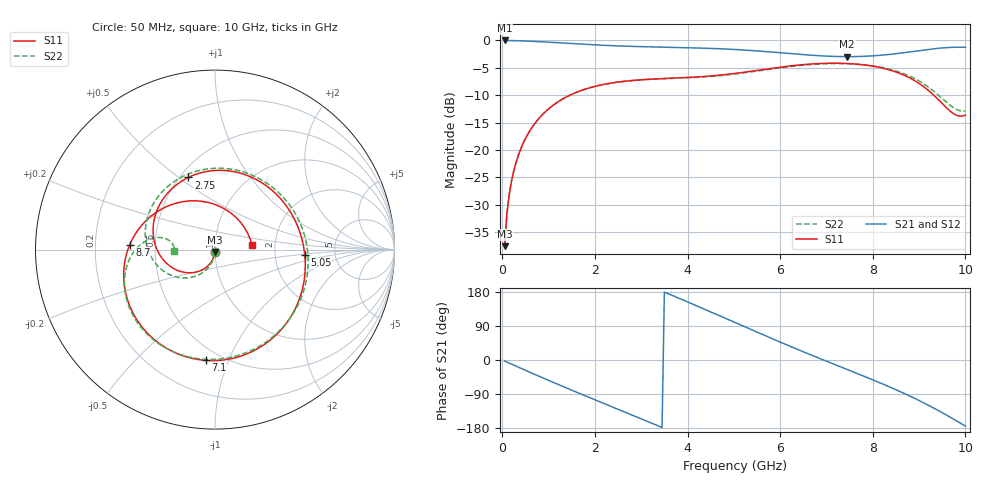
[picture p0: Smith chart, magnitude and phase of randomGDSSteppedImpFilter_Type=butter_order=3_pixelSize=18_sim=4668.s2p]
! freq	dB(S11)	phase(S11)	dB(S12)	phase(S12)
!  dB(S21)	phase(S21)	dB(S22)	phase(S22)
!S-par simulation data
#  GHz  S  DB  R 50
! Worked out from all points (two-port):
!   200 points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, 50 MHz to 10 GHz, reference 50 ohm
!   highest |S21| = -0.01 dB at 50 MHz (marker M1); lowest = -3.0 dB at 7.45 GHz (marker M2)
!   |S21| within 3 dB of the highest: start of sweep to end of sweep
!   lowest |S11| = -37.6 dB at 50 MHz (marker M3), VSWR 1.03, Z = 49.9 - j1.32 ohm
!   |S11| at or under -10 dB: start of sweep to 1.46 GHz; 9.317 GHz to end of sweep
!   |S22| runs from -37.6 to -4.2 dB; largest |S21 - S12| = 0
!   S11 on the Smith chart (normalised r, x): 50 MHz: 1.00, -0.03; 2.75 GHz: 0.55, +0.54; 5.05 GHz: 2.99, -0.25; 7.1 GHz: 0.41, -0.83; 8.7 GHz: 0.35, +0.02; 10 GHz: 1.52, +0.07
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0.05  -37.56 -92.4  -0.01 -2.8  -0.01 -2.8  -37.55 -91.8
0.1  -31.60 -95.9  -0.01 -5.5  -0.01 -5.5  -31.59 -94.6
0.2  -25.65 -102.4  -0.03 -11.0  -0.03 -11.0  -25.64 -99.9
0.5  -17.92 -120.7  -0.11 -27.2  -0.11 -27.2  -17.91 -114.6
1.15  -11.52 -159.3  -0.40 -61.6  -0.40 -61.6  -11.51 -145.2
1.75  -9.01 166.1  -0.70 -92.4  -0.70 -92.4  -9.00 -172.3
2.25  -7.93 138.0  -0.92 -117.5  -0.92 -117.5  -7.93 165.6
2.75  -7.36 110.3  -1.08 -142.6  -1.08 -142.6  -7.36 143.1
3.4  -6.99 75.3  -1.22 -175.6  -1.22 -175.6  -7.02 112.4
4.15  -6.70 37.4  -1.37 145.5  -1.37 145.5  -6.76 72.7
4.6  -6.42 16.4  -1.49 121.7  -1.49 121.7  -6.50 46.4
5.05  -6.00 -3.6  -1.67 97.6  -1.67 97.6  -6.10 18.8
5.8  -5.11 -36.3  -2.11 57.7  -2.11 57.7  -5.23 -27.5
6.25  -4.62 -56.1  -2.43 34.4  -2.43 34.4  -4.73 -53.9
6.7  -4.29 -76.4  -2.72 11.7  -2.72 11.7  -4.38 -78.6
7.1  -4.16 -94.8  -2.90 -8.1  -2.90 -8.1  -4.23 -99.1
7.45  -4.21 -111.6  -2.96 -25.1  -2.96 -25.1  -4.25 -116.0
8.35  -5.36 -160.0  -2.57 -70.3  -2.57 -70.3  -5.22 -156.6
8.7  -6.44 176.9  -2.21 -89.4  -2.21 -89.4  -6.17 -171.2
9.05  -8.14 148.9  -1.81 -110.0  -1.81 -110.0  -7.66 176.0
9.4  -10.67 111.6  -1.45 -132.3  -1.45 -132.3  -9.86 167.9
10  -13.64 6.4  -1.25 -174.4  -1.25 -174.4  -12.89 -177.4
